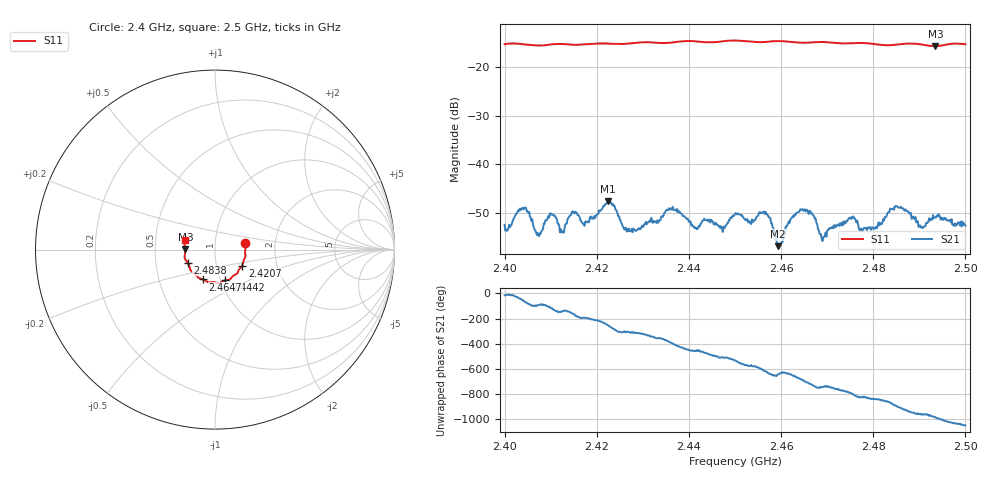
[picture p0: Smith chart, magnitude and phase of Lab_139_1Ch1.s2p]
# Hz S RI R 50
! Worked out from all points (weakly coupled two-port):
!   601 points, 2.4 GHz to 2.5 GHz, reference 50 ohm
!   highest |S21| = -47.59 dB at 2.4225 GHz (marker M1); lowest = -56.8 dB at 2.4593 GHz (marker M2)
!   lowest |S11| = -15.6 dB at 2.4935 GHz (marker M3), VSWR 1.40, Z = 35.8 + j0.13 ohm
!   |S11| at or under -10 dB: start of sweep to end of sweep
!   S12 and S22 are empty: the file has one direction only
!   S11 on the Smith chart (normalised r, x): 2.4 GHz: 1.40, +0.11; 2.4207 GHz: 1.33, -0.24; 2.4442 GHz: 1.05, -0.37; 2.4647 GHz: 0.83, -0.29; 2.4838 GHz: 0.73, -0.11; 2.5 GHz: 0.71, +0.08
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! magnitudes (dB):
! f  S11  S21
! 2.4 GHz  -15.2  -52.5
! 2.4042 GHz  -15.3  -49.3
! 2.4073 GHz  -15.5  -54.7
! 2.41 GHz  -15.3  -50.1
! 2.4125 GHz  -15.2  -53.7
! 2.415 GHz  -15.4  -49.9
! 2.4167 GHz  -15.3  -51.7
! 2.4207 GHz  -15.1  -49.6
! 2.4225 GHz  -15.1  -47.6
! 2.427 GHz  -15.1  -53.2
! 2.4333 GHz  -15.0  -52.0
! 2.4442 GHz  -14.9  -51.7
! 2.45 GHz  -14.5  -50.3
! 2.4567 GHz  -14.8  -49.8
! 2.4593 GHz  -14.6  -56.8
! 2.4647 GHz  -14.9  -49.2
! 2.4667 GHz  -14.9  -50.0
! 2.4693 GHz  -14.8  -54.9
! 2.4833 GHz  -15.4  -49.8
! 2.4838 GHz  -15.4  -49.1
! 2.4935 GHz  -15.6  -50.9
! 2.5 GHz  -15.2  -52.6
